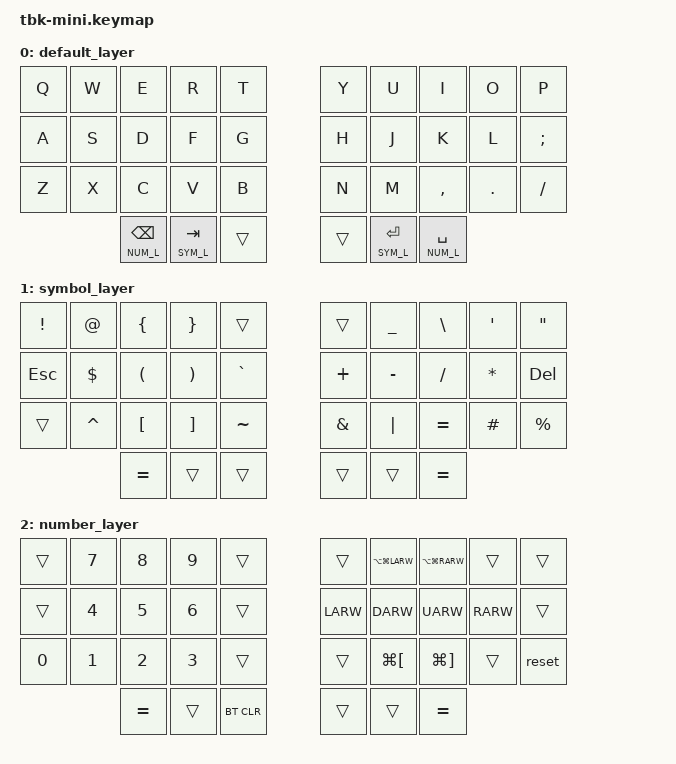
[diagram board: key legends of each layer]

#include <behaviors.dtsi>
#include <dt-bindings/zmk/keys.h>
#include <dt-bindings/zmk/bt.h>

#define SYM_L 1
#define NUM_L 2

&lt { quick_tap_ms = <100>; };

/ {
        behaviors {
                combos {        
                        compatible = "zmk,combos";        
                        c_lalt {            
                                timeout-ms = <50>;            
                                key-positions = <20 21>;            
                                bindings = <&sk LALT>;        
                        };                         
                        c_lgui {            
                                timeout-ms = <50>;            
                                key-positions = <21 22>;            
                                bindings = <&sk LGUI>;        
                        };                 
                        c_laltgui {            
                                timeout-ms = <50>;            
                                key-positions = <20 21 22>;            
                                bindings = <&sk LA(LGUI)>;        
                        }; 
                        c_lctrl {            
                                timeout-ms = <50>;            
                                key-positions = <22 23>;            
                                bindings = <&sk LCTRL>;        
                        };
                        c_ralt {            
                                timeout-ms = <50>;            
                                key-positions = <28 29>;            
                                bindings = <&sk LALT>;        
                        };                         
                        c_rgui {            
                                timeout-ms = <50>;            
                                key-positions = <27 28>;            
                                bindings = <&sk LGUI>;        
                        };                 
                        c_raltgui {            
                                timeout-ms = <50>;            
                                key-positions = <27 28 29>;            
                                bindings = <&sk LA(LGUI)>;        
                        }; 
                        c_rctrl {            
                                timeout-ms = <50>;            
                                key-positions = <26 27>;            
                                bindings = <&sk LCTRL>;        
                        };
                        c_lmgui {            
                                timeout-ms = <50>;            
                                key-positions = <11 12>;            
                                bindings = <&kp LGUI>;        
                        };                          
                        c_lmsft {            
                                timeout-ms = <50>;            
                                key-positions = <11 13>;            
                                bindings = <&kp LSFT>;        
                        }; 
                        c_lmguisft {            
                                timeout-ms = <50>;            
                                key-positions = <11 12 13>;            
                                bindings = <&kp LS(LGUI)>;        
                        };
                        c_esc {
                                timeout-ms = <50>;            
                                key-positions = <11 17>;            
                                bindings = <&kp ESCAPE>;    
                        };
                        c_rmgui {            
                                timeout-ms = <50>;            
                                key-positions = <17 18>;            
                                bindings = <&kp LGUI>;        
                        };                          
                        c_rmsft {            
                                timeout-ms = <50>;            
                                key-positions = <16 18>;            
                                bindings = <&kp LSFT>;        
                        }; 
                        c_rmguisft {            
                                timeout-ms = <50>;            
                                key-positions = <16 17 18>;            
                                bindings = <&kp LS(LGUI)>;        
                        };
                };
        };

        keymap {
                compatible = "zmk,keymap";
                default_layer {
                        bindings = <
    &kp Q       &kp W        &kp E          &kp R        &kp T          &kp Y    &kp U         &kp I           &kp O       &kp P      
    &kp A       &kp S        &kp D          &kp F        &kp G          &kp H    &kp J         &kp K           &kp L       &kp SEMI
    &kp Z       &kp X        &kp C          &kp V        &kp B          &kp N    &kp M         &kp COMMA       &kp DOT     &kp FSLH   
                             &lt NUM_L BKSP &lt SYM_L TAB      &trans         &trans   &lt SYM_L RET  &lt NUM_L SPACE
                        >;
                };

                symbol_layer {
                        bindings = <
    &kp EXCL   &kp AT     &kp LBRC  &kp RBRC  &trans            &trans    &kp UNDER  &kp BSLH   &kp SQT     &kp DQT
    &kp ESC    &kp DLLR   &kp LPAR  &kp RPAR  &kp GRAVE         &kp PLUS  &kp MINUS  &kp FSLH   &kp STAR    &kp DEL
    &trans     &kp CARET  &kp LBKT  &kp RBKT  &kp TILDE         &kp AMPS  &kp PIPE   &kp EQUAL  &kp HASH    &kp PRCNT
                          &kp EQUAL &trans    &trans            &trans    &trans     &kp EQUAL
                        >;
                };

                number_layer {
                        bindings = <
    &trans      &kp N7      &kp N8       &kp N9      &trans             &trans    &kp LA(LG(LARW))    &kp LA(LG(RARW))    &trans      &trans     
    &trans      &kp N4      &kp N5       &kp N6      &trans             &kp LARW  &kp DARW  &kp UARW  &kp RARW    &trans 
    &kp N0      &kp N1      &kp N2       &kp N3      &trans             &trans    &kp LG(LBKT)   &kp LG(RBKT) &trans &reset
                            &kp EQUAL    &trans      &bt BT_CLR         &trans    &trans    &kp EQUAL
                        >;
                };
        };
};
